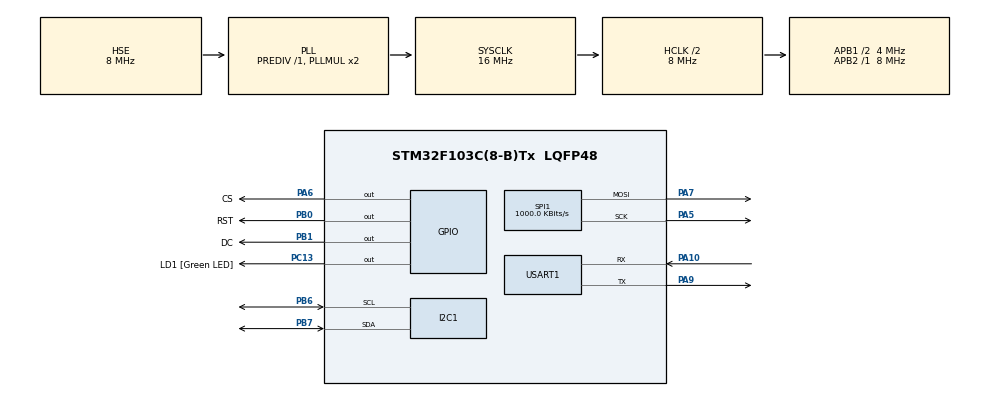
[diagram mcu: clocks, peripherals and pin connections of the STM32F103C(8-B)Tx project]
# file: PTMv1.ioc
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Mcu.Family=STM32F1
RCC.PLLSourceVirtual=RCC_PLLSOURCE_HSE
PC15-OSC32_OUT.Mode=LSE-External-Oscillator
PA7.Mode=TX_Only_Simplex_Unidirect_Master
PD1-OSC_OUT.Mode=HSE-External-Oscillator
PA10.Mode=Asynchronous
SPI1.VirtualType=VM_MASTER
PC13-TAMPER-RTC.Signal=GPIO_Output
PA6.GPIO_Label=CS
PB0.GPIO_Label=RST
NVIC.TIM1_UP_IRQn=true\:0\:0\:false\:true\:true\:1\:true\:true
PD0-OSC_IN.Signal=RCC_OSC_IN
RCC.APB1CLKDivider=RCC_HCLK_DIV2
PC14-OSC32_IN.Signal=RCC_OSC32_IN
RCC.SYSCLKSource=RCC_SYSCLKSOURCE_PLLCLK
ProjectManager.StackSize=0x400
PD1-OSC_OUT.Signal=RCC_OSC_OUT
PA13.Signal=SYS_JTMS-SWDIO
PA9.Mode=Asynchronous
TIM1.Prescaler=8000-1
ProjectManager.TargetToolchain=STM32CubeIDE
SPI1.Direction=SPI_DIRECTION_2LINES
RCC.HCLKFreq_Value=8000000
RCC.APB2TimFreq_Value=8000000
PA9.Signal=USART1_TX
PB6.Signal=I2C1_SCL
PB6.Mode=I2C
SPI1.CalculateBaudRate=1000.0 KBits/s
RCC.USBFreq_Value=16000000
PC15-OSC32_OUT.Signal=RCC_OSC32_OUT
RCC.AHBFreq_Value=8000000
PD0-OSC_IN.Mode=HSE-External-Oscillator
PA5.Signal=SPI1_SCK
board=custom
RCC.RTCClockSelection=RCC_RTCCLKSOURCE_LSE
PC13-TAMPER-RTC.GPIO_Label=LD1 [Green LED]
RCC.APB2Freq_Value=8000000
PC14-OSC32_IN.Mode=LSE-External-Oscillator
PC13-TAMPER-RTC.PinState=GPIO_PIN_SET
SPI1.Mode=SPI_MODE_MASTER
PA14.Mode=Serial_Wire
PB1.GPIO_Label=DC
PB7.Signal=I2C1_SDA
PA8.Signal=USART1_CK
RCC.AHBCLKDivider=RCC_SYSCLK_DIV2
PA13.Mode=Serial_Wire
Mcu.Name=STM32F103C(8-B)Tx
VP_TIM1_VS_ClockSourceINT.Mode=Internal
RCC.SYSCLKFreq_VALUE=16000000
Mcu.Package=LQFP48
PC13-TAMPER-RTC.GPIO_ModeDefaultOutputPP=GPIO_MODE_OUTPUT_PP
PA6.Signal=GPIO_Output
PB1.Signal=GPIO_Output
PC13-TAMPER-RTC.GPIO_PuPd=GPIO_NOPULL
USART1.VirtualMode=VM_ASYNC
PB7.Mode=I2C
PA10.Signal=USART1_RX
PA14.Signal=SYS_JTCK-SWCLK
ProjectManager.HeapSize=0x200
NVIC.PriorityGroup=NVIC_PRIORITYGROUP_4
RCC.APB1TimFreq_Value=8000000
TIM1.Period=100-1
NVIC.USART1_IRQn=true\:0\:0\:false\:false\:true\:true\:true
RCC.APB1Freq_Value=4000000
SPI1.BaudRatePrescaler=SPI_BAUDRATEPRESCALER_8
PB0.Signal=GPIO_Output
PA7.Signal=SPI1_MOSI
PA5.Mode=TX_Only_Simplex_Unidirect_Master

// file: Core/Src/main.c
/* USER CODE BEGIN Header */
/**
  ******************************************************************************
  * @file           : main.c
  * @brief          : Main program body
  ******************************************************************************
  * @attention
  *
  * <h2><center>&copy; Copyright (c) 2021 STMicroelectronics.
  * All rights reserved.</center></h2>
  *
  * This software component is licensed by ST under BSD 3-Clause license,
  * the "License"; You may not use this file except in compliance with the
  * License. You may obtain a copy of the License at:
  *                        opensource.org/licenses/BSD-3-Clause
  *
  ******************************************************************************
  */
/* USER CODE END Header */
#include "main.h"
#include "i2c.h"
#include "spi.h"
#include "tim.h"
#include "usart.h"
#include "gpio.h"

/* USER CODE BEGIN Includes */

#include "MS5837.h"
#include "printf_to_uart.h"
#include "lcd_5110.h"
#include "lcd_i2c.h"
#include <stdbool.h>
#include <stdio.h>

/* USER CODE END Includes */

/* USER CODE BEGIN PV */

//buffer for 5510

uint8_t buffer[LCD_X*LCD_Y/2];

uint8_t flag [3] = {0,0,0};
//flag:
//flag[0] <- timer update
//flag[1] <- buffer has been drawn
//flag[2] <- direction "0" for outside/left "1" for inside/right animation

//uint8_t dron [][]={
//		{0,0},{1,0},{2,0},{3,0},{4,0},{5,0},{6,0},{7,0},{8,0}
//		     ,{1,1}			   ,{4,1}		     ,{7,1}
//			 ,{1,2},{2,2},{3,2},{4,2},{5,2},{6,2},{7,2},
//		{0,3}	   ,{2,3},{3,3},{4,3},{5,3},{6,3},{7,3},{8,3},
//		{0,4}	   ,{2,4},{3,4},{4,4},{5,4},{6,4},{7,4},{8,4}
//		 	 ,{1,5},{2,5},{3,5},{4,5},{5,5},{6,5},{7,5}
//			 ,{1,6}			   ,{4,6}		     ,{7,6},
//		{0,7},{1,7},{2,7},{3,7},{4,7},{5,7},{6,7},{7,7},{8,7}
//
//};
uint8_t dron [27*2][2]={
				{0,0},{1,0},{2,0},{3,0},{4,0},{5,0},{6,0},{7,0},{8,0}
				     ,{1,1}			   ,{4,1}		     ,{7,1}
					 ,{1,2},{2,2},{3,2},{4,2},{5,2},{6,2},{7,2},
				{0,3}	   ,{2,3},{3,3},{4,3},{5,3},{6,3},{7,3},{8,3},
				{0,4}	   ,{2,4},{3,4},{4,4},{5,4},{6,4},{7,4},{8,4}
				 	 ,{1,5},{2,5},{3,5},{4,5},{5,5},{6,5},{7,5}
					 ,{1,6}			   ,{4,6}		     ,{7,6},
				{0,7},{1,7},{2,7},{3,7},{4,7},{5,7},{6,7},{7,7},{8,7}
};

const uint8_t template [] = {
0x00, 0x00, 0xFF, 0xFF, 0xFF, 0x22, 0x22, 0x22, 0x22, 0x22, 0x00, 0x00, 0x00, 0x00, 0x00, 0x00,
0x00, 0x00, 0x00, 0x00, 0x00, 0x00, 0x00, 0x00, 0x00, 0x00, 0x00, 0x00, 0x00, 0x00, 0x00, 0x00,
0x00, 0x00, 0x00, 0x00, 0x00, 0x00, 0x00, 0x00, 0x00, 0x00, 0x00, 0x00, 0x00, 0x00, 0x00, 0x00,
0x00, 0x00, 0x00, 0x00, 0x00, 0x00, 0x00, 0x00, 0x00, 0x00, 0x00, 0x00, 0x00, 0x00, 0x00, 0x00,
0x00, 0x00, 0x00, 0x00, 0x00, 0x00, 0x00, 0x00, 0x00, 0x00, 0x00, 0x00, 0x00, 0x00, 0x00, 0x00,
0x00, 0x00, 0x00, 0x00, 0x00, 0x00, 0xFF, 0xFF, 0xFF, 0x22, 0x22, 0x22, 0x22, 0x22, 0x00, 0x00,
0x00, 0x00, 0x00, 0x00, 0x00, 0x00, 0x00, 0x00, 0x00, 0x00, 0x00, 0x00, 0x00, 0x00, 0x00, 0x00,
0x00, 0x00, 0x00, 0x00, 0x00, 0x00, 0x00, 0x00, 0x00, 0x00, 0x00, 0x00, 0x00, 0x00, 0x00, 0x00,
0x00, 0x00, 0x00, 0x00, 0x00, 0x00, 0x00, 0x00, 0x00, 0x00, 0x00, 0x00, 0x00, 0x00, 0x00, 0x00,
0x00, 0x00, 0x00, 0x00, 0x00, 0x00, 0x00, 0x00, 0x00, 0x00, 0x00, 0x00, 0x00, 0x00, 0x00, 0x00,
0x00, 0x00, 0x00, 0x00, 0x00, 0x00, 0x00, 0x00, 0x00, 0x00, 0xFF, 0xFF, 0xFF, 0x22, 0x22, 0x22,
0x22, 0x22, 0x00, 0x00, 0x00, 0x00, 0x00, 0x00, 0x00, 0x00, 0x00, 0x00, 0x00, 0x00, 0x00, 0x00,
0x00, 0x00, 0x00, 0x00, 0x00, 0x00, 0x00, 0x00, 0x00, 0x00, 0x00, 0x00, 0x00, 0x00, 0x00, 0x00,
0x00, 0x00, 0x00, 0x00, 0x00, 0x00, 0x00, 0x00, 0x00, 0x00, 0x00, 0x00, 0x00, 0x00, 0x00, 0x00,
0x00, 0x00, 0x00, 0x00, 0x00, 0x00, 0x00, 0x00, 0x00, 0x00, 0x00, 0x00, 0x00, 0x00, 0x00, 0x00,
0x00, 0x00, 0x00, 0x00, 0x00, 0x00, 0x00, 0x00, 0x00, 0x00, 0x00, 0x00, 0x00, 0x00, 0xFF, 0xFF,
0xFF, 0x22, 0x22, 0x22, 0x22, 0x22, 0x00, 0x00, 0x00, 0x00, 0x00, 0x00, 0x00, 0x00, 0x00, 0x00,
0x00, 0x00, 0x00, 0x00, 0x00, 0x00, 0x00, 0x00, 0x00, 0x00, 0x00, 0x00, 0x00, 0x00, 0x00, 0x00,
0x00, 0x00, 0x00, 0x00, 0x00, 0x00, 0x00, 0x00, 0x00, 0x00, 0x00, 0x00, 0x00, 0x00, 0x00, 0x00,
0x00, 0x00, 0x00, 0x00, 0x00, 0x00, 0x00, 0x00, 0x00, 0x00, 0x00, 0x00, 0x00, 0x00, 0x00, 0x00,
0x00, 0x00, 0x00, 0x00, 0x00, 0x00, 0x00, 0x00, 0x00, 0x00, 0x00, 0x00, 0x00, 0x00, 0x00, 0x00,
0x00, 0x00, 0xFF, 0xFF, 0xFF, 0x22, 0x22, 0x22, 0x22, 0x22, 0x00, 0x00, 0x00, 0x00, 0x00, 0x00,
0x00, 0x00, 0x00, 0x00, 0x00, 0x00, 0x00, 0x00, 0x00, 0x00, 0x00, 0x00, 0x00, 0x00, 0x00, 0x00,
0x00, 0x00, 0x00, 0x00, 0x00, 0x00, 0x00, 0x00, 0x00, 0x00, 0x00, 0x00, 0x00, 0x00, 0x00, 0x00,
0x00, 0x00, 0x00, 0x00, 0x00, 0x00, 0x00, 0x00, 0x00, 0x00, 0x00, 0x00, 0x00, 0x00, 0x00, 0x00,
0x00, 0x00, 0x00, 0x00, 0x00, 0x00, 0x00, 0x00, 0x00, 0x00, 0x00, 0x00, 0x00, 0x00, 0x00, 0x00,
0x00, 0x00, 0x00, 0x00, 0x00, 0x00, 0xFF, 0xFF, 0xFF, 0x22, 0x22, 0x22, 0x22, 0x22, 0x00, 0x00,
0x00, 0x00, 0x00, 0x00, 0x00, 0x00, 0x00, 0x00, 0x00, 0x00, 0x00, 0x00, 0x00, 0x00, 0x00, 0x00,
0x00, 0x00, 0x00, 0x00, 0x00, 0x00, 0x00, 0x00, 0x00, 0x00, 0x00, 0x00, 0x00, 0x00, 0x00, 0x00,
0x00, 0x00, 0x00, 0x00, 0x00, 0x00, 0x00, 0x00, 0x00, 0x00, 0x00, 0x00, 0x00, 0x00, 0x00, 0x00,
0x00, 0x00, 0x00, 0x00, 0x00, 0x00, 0x00, 0x00, 0x00, 0x00, 0x00, 0x00, 0x00, 0x00, 0x00, 0x00,
0x00, 0x00, 0x00, 0x00, 0x00, 0x00, 0x00, 0x00,
};

//to corect

uint8_t depth = 20;
uint16_t preasure = 2137;

//global variable
uint8_t sign;
uint8_t message[20];
uint8_t message1[20];
uint16_t msg_length;

struct lcd_disp disp;

/* USER CODE END PV */

void SystemClock_Config(void);
static void MX_NVIC_Init(void);

//print to UART
int __io_putchar(int ch)
{
	HAL_UART_Transmit(&huart1, (uint8_t*)&ch, 1, 1000);
	return ch;
}

int main(void)
{
  /* USER CODE BEGIN 1 */

	//cls buffer
	LCD_Clear_Buffer(buffer);

  /* USER CODE END 1 */

  /* MCU Configuration--------------------------------------------------------*/

  /* Reset of all peripherals, Initializes the Flash interface and the Systick. */
  HAL_Init();

  /* Configure the system clock */
  SystemClock_Config();

  /* Initialize all configured peripherals */
  MX_GPIO_Init();
  MX_I2C1_Init();
  MX_USART1_UART_Init();
  MX_SPI1_Init();
  MX_TIM1_Init();

  /* Initialize interrupts */
  MX_NVIC_Init();
  /* USER CODE BEGIN 2 */

  //time start & init
  HAL_TIM_Base_Start_IT(&htim1);

     LCD_Initialize(&hspi1);

  //buffor for LCD_5510 startup screen

     for (uint16_t i = 0; i< LCD_X*LCD_Y/8 ; i++){
   	  buffer[i] = logo[i];
     }

     lcd_draw_text(0, 60, "v0.9", buffer);

  //push to display form buffer

     LCD_Data(&hspi1, buffer);

     HAL_Delay(1000);

     uint8_t r = 20; //high of submarine visualization

   //some wierd shit, badapple
     for (uint16_t i = 0; i< LCD_X*LCD_Y/8 ; i++){
   	  buffer[i] = template[i];
     }

  //BAR02 init
  int a = 0;
  MS5837_init(&hi2c1);

  if(HAL_I2C_Init(&hi2c1) == HAL_OK) {
  	  printf("\n\r HAL_OK INIT\n\r\n\r");
    }

  while (!MS5837_init) {
  	    	  printf("Init failed!");
  	    	  printf("Are SDA/SCL connected correctly?");
  	    	  printf("Blue Robotics Bar02: White=SDA, Green=SCL");
  	    	  printf("\n\n\n");
  	    	HAL_Delay(2000);
  	      }

  //getting one character in the interrupt mode
  HAL_UART_Receive_IT(&huart1, &sign, 1);

  disp.addr = (0x27 << 1);
  disp.bl = true;
  lcd_init(&disp);
  sprintf((char*)disp.f_line, "First line of text");
  sprintf((char*)disp.s_line, "Second line of text");
  sprintf((char*)disp.t_line, "Third line of text");
  sprintf((char*)disp.l_line, "Last line of text");
  HAL_Delay(500);
  	  lcd_display(&disp);

  sprintf((char*)disp.f_line, "*");
  HAL_Delay(500);
  	  lcd_display(&disp);

  sprintf((char*)disp.s_line, "**");
  HAL_Delay(500);
  	  lcd_display(&disp);

  sprintf((char*)disp.t_line, "***");
  HAL_Delay(500);
  	  lcd_display(&disp);

  sprintf((char*)disp.l_line, "****");
  HAL_Delay(500);
  	  lcd_display(&disp);

	sprintf((char*)disp.f_line, " ");
	sprintf((char*)disp.s_line, " ");
	sprintf((char*)disp.t_line, " ");
	sprintf((char*)disp.l_line, "     KN ROBOCIK");
	HAL_Delay(1500);
		lcd_display(&disp);

  /* USER CODE END 2 */

  /* Infinite loop */
  /* USER CODE BEGIN WHILE */
  while (1)
  {

	  if(flag[1] == 0){

	  		  flag[0] = 0;

	  			for(uint16_t i = 0; i < (LCD_X*LCD_Y/8); i ++){
	  				buffer[i]= 0x00;
	  			}

	  			  for (uint16_t i = 0; i< LCD_X*LCD_Y/8 ; i++){
	  				  buffer[i] = template[i];
	  			  }

	  			for(uint8_t x = 0 ; x < LCD_X ; x++ ){
	  			  LCD_draw_pixel(buffer,x, 0);
	  			  LCD_draw_pixel(buffer,x, LCD_Y);
	  			}

	  			for(uint8_t y = 0 ; y < LCD_X ; y++ ){
	  			  LCD_draw_pixel(buffer,0, y);
	  			  LCD_draw_pixel(buffer,LCD_X, y);
	  			}

	  			for(uint8_t i = 0; i< 54 ; i ++){
	  				LCD_draw_pixel(buffer,dron[i][0]+ 11 , dron[i][1]+r);
	  			}

	  			  lcd_draw_text(1, 25, "Preasure:", buffer);
	  			  char tmp[16];
	  			  sprintf(tmp, "%d hPa", preasure);
	  			  lcd_draw_text(2, 25,tmp, buffer);
	  			  lcd_draw_text(3, 25, "Depth:", buffer);
	  			  sprintf(tmp, "%d m", depth);
	  			  lcd_draw_text(4, 25,tmp, buffer);

	  	  	  flag[1]=1;

	  	  }

	  	  if(flag[0] == 1 && flag[1]== 1) {
	  		  LCD_Data(&hspi1, buffer);
	  		    HAL_GPIO_TogglePin(GPIOC, GPIO_PIN_13);
	  		  flag[1] = 0;

	  	  }

	  a++;
	 	  MS5837_read();

	 	  depth = MS5837_depth();
	 	  preasure = MS5837_pressure(1);

	  	  printf("Nr: %i \n\r",a);

	  	   printf("Pressure: %i mbar \n\r",preasure);

	  	   printf("Temperature: %4.3f deg C \n\r",MS5837_temperature());

	  	   printf("Depth: %i m \n\r",depth);

	  	   printf("Altitude: %4.3f above mean sea level \n\r\n\r",MS5837_altitude());

	  	 	  HAL_Delay(1000);

    /* USER CODE END WHILE */

    /* USER CODE BEGIN 3 */

// LED blinking
	  HAL_GPIO_TogglePin(GPIOC, GPIO_PIN_13); //LD1_Pin

	  HAL_Delay(500);

  }
  /* USER CODE END 3 */
}

void SystemClock_Config(void)
{
  RCC_OscInitTypeDef RCC_OscInitStruct = {0};
  RCC_ClkInitTypeDef RCC_ClkInitStruct = {0};

  /** Initializes the RCC Oscillators according to the specified parameters
  * in the RCC_OscInitTypeDef structure.
  */
  RCC_OscInitStruct.OscillatorType = RCC_OSCILLATORTYPE_HSE;
  RCC_OscInitStruct.HSEState = RCC_HSE_ON;
  RCC_OscInitStruct.HSEPredivValue = RCC_HSE_PREDIV_DIV1;
  RCC_OscInitStruct.HSIState = RCC_HSI_ON;
  RCC_OscInitStruct.PLL.PLLState = RCC_PLL_ON;
  RCC_OscInitStruct.PLL.PLLSource = RCC_PLLSOURCE_HSE;
  RCC_OscInitStruct.PLL.PLLMUL = RCC_PLL_MUL2;
  if (HAL_RCC_OscConfig(&RCC_OscInitStruct) != HAL_OK)
  {
    Error_Handler();
  }
  /** Initializes the CPU, AHB and APB buses clocks
  */
  RCC_ClkInitStruct.ClockType = RCC_CLOCKTYPE_HCLK|RCC_CLOCKTYPE_SYSCLK
                              |RCC_CLOCKTYPE_PCLK1|RCC_CLOCKTYPE_PCLK2;
  RCC_ClkInitStruct.SYSCLKSource = RCC_SYSCLKSOURCE_PLLCLK;
  RCC_ClkInitStruct.AHBCLKDivider = RCC_SYSCLK_DIV2;
  RCC_ClkInitStruct.APB1CLKDivider = RCC_HCLK_DIV2;
  RCC_ClkInitStruct.APB2CLKDivider = RCC_HCLK_DIV1;

  if (HAL_RCC_ClockConfig(&RCC_ClkInitStruct, FLASH_LATENCY_0) != HAL_OK)
  {
    Error_Handler();
  }
}

/**
  * @brief NVIC Configuration.
  * @retval None
  */
static void MX_NVIC_Init(void)
{
  /* TIM1_UP_IRQn interrupt configuration */
  HAL_NVIC_SetPriority(TIM1_UP_IRQn, 0, 0);
  HAL_NVIC_EnableIRQ(TIM1_UP_IRQn);
}

/* USER CODE BEGIN 4 */

// don't do

void HAL_TIM_PeriodElapsedCallback(TIM_HandleTypeDef *htim){

	if(htim->Instance == TIM1){

		flag[0] = 1;
	}

}

// UART communications fun and play

void HAL_UART_RxCpltCallback(UART_HandleTypeDef *huart)
	{
	if (huart->Instance == USART1) //check for UART1
		{
		if(sign == 'D')
			{
				HAL_GPIO_WritePin(GPIOC, GPIO_PIN_13, GPIO_PIN_SET);
				msg_length = sprintf(message, "LED ON\n\r");
			}
		else if (sign == 'K')
			{
				HAL_GPIO_WritePin(GPIOC, GPIO_PIN_13, GPIO_PIN_RESET);
				msg_length = sprintf(message, "LED OFF\n\r");
			}
		else
			{
				msg_length = sprintf(message, "BAD SIGN\n\r");
			}
		HAL_UART_Transmit_IT(&huart1, message, msg_length); //wait for next sign
		HAL_UART_Receive_IT(&huart1, &sign, 1); //wait for next sign
		}
	}

/* USER CODE END 4 */

void Error_Handler(void)
{
  __disable_irq();
  while (1)
  {
  }
}

/************************ (C) COPYRIGHT STMicroelectronics *****END OF FILE****/
